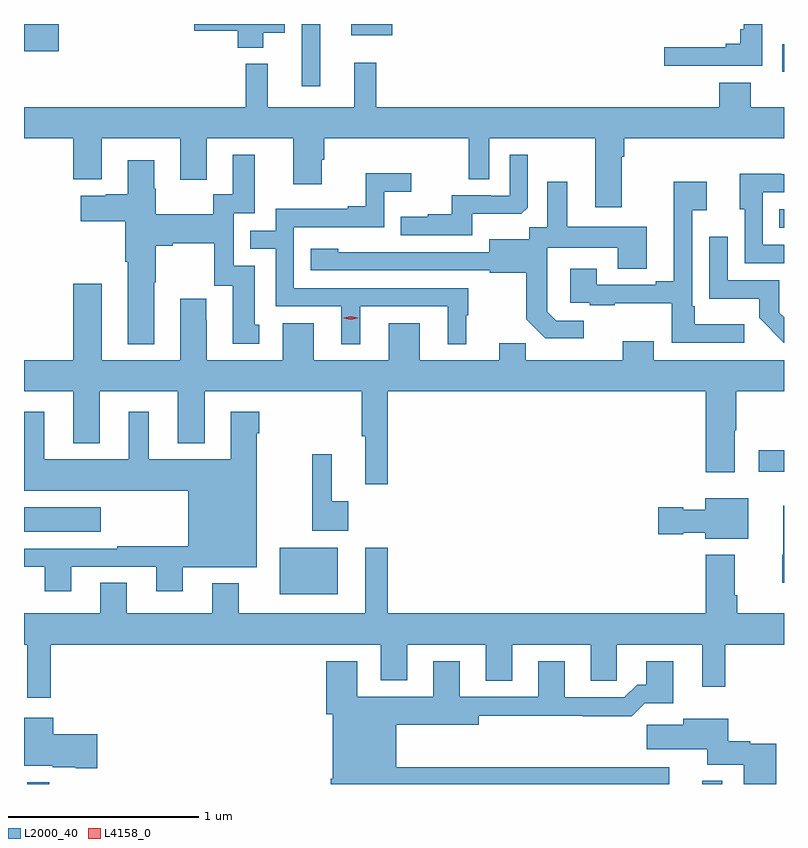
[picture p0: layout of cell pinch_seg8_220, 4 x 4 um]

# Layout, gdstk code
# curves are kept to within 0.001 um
import gdstk
lib = gdstk.Library(unit=1e-6, precision=1e-09)
def R(c, l, rs):  # rectangles x0, y0, x1, y1
    for r in rs: c.add(gdstk.rectangle(r[:2], r[2:], *l))
def P(c, l, *ps):  # polygons
    for p in ps: c.add(gdstk.Polygon(p, *l))
L2000_40 = (2000, 40)
L4158_0 = (4158, 0)

pinch_seg8_220 = lib.new_cell('pinch_seg8_220')
R(pinch_seg8_220, L2000_40, [(669.509,1106.442,669.623,1106.452), (673.061,1106.442,673.165,1106.458), (670.838,1107.44,671.143,1107.685), (669.491,1107.77,669.895,1107.898), (673.359,1108.085,673.491,1108.198), (673.465,1109.37,673.491,1109.466), (670.953,1110.114,671.05,1110.442), (673.481,1110.192,673.491,1110.336), (669.491,1110.298,669.673,1110.44), (671.213,1110.383,671.428,1110.442)])
P(pinch_seg8_220, L2000_40, [(673.377,1110.442),(673.28,1110.442),(673.28,1110.415),(673.261,1110.415),(673.261,1110.338),(673.184,1110.338),(673.184,1110.319),(672.861,1110.319),(672.861,1110.222),(673.377,1110.222)],
  [(670.75,1110.395),(670.864,1110.395),(670.864,1110.442),(670.386,1110.442),(670.386,1110.406),(670.616,1110.406),(670.616,1110.317),(670.75,1110.317)],
  [(672.637,1109.744),(672.65,1109.744),(672.65,1109.84),(673.491,1109.84),(673.491,1110.004),(673.315,1110.004),(673.315,1110.133),(673.151,1110.133),(673.151,1110.004),(671.345,1110.004),(671.345,1110.238),(671.228,1110.238),(671.228,1110.004),(670.775,1110.004),(670.775,1110.232),(670.657,1110.232),(670.657,1110.004),(669.491,1110.004),(669.491,1109.84),(669.749,1109.84),(669.749,1109.624),(669.901,1109.624),(669.901,1109.84),(670.313,1109.84),(670.313,1109.622),(670.453,1109.622),(670.453,1109.84),(670.907,1109.84),(670.907,1109.598),(671.059,1109.598),(671.059,1109.727),(671.072,1109.727),(671.072,1109.84),(671.832,1109.84),(671.832,1109.626),(671.94,1109.626),(671.94,1109.84),(672.497,1109.84),(672.497,1109.478),(672.637,1109.478)],
  [(670.177,1109.083),(670.185,1109.083),(670.185,1109.276),(670.273,1109.276),(670.273,1109.288),(670.493,1109.288),(670.493,1109.064),(670.589,1109.064),(670.589,1108.758),(670.729,1108.758),(670.729,1108.86),(670.705,1108.86),(670.705,1109.169),(670.596,1109.169),(670.596,1109.445),(670.705,1109.445),(670.705,1109.755),(670.589,1109.755),(670.589,1109.546),(670.488,1109.546),(670.488,1109.44),(670.185,1109.44),(670.185,1109.574),(670.177,1109.574),(670.177,1109.725),(670.037,1109.725),(670.037,1109.546),(669.921,1109.546),(669.921,1109.539),(669.789,1109.539),(669.789,1109.405),(670.025,1109.405),(670.025,1109.192),(670.037,1109.192),(670.037,1108.757),(670.177,1108.757)],
  [(671.851,1109.444),(672.109,1109.444),(672.141,1109.475),(672.141,1109.755),(672.048,1109.755),(672.048,1109.538),(671.948,1109.538),(671.948,1109.541),(671.741,1109.541),(671.741,1109.44),(671.617,1109.44),(671.617,1109.428),(671.473,1109.428),(671.473,1109.331),(671.851,1109.331)],
  [(671.26,1108.956),(671.72,1108.956),(671.72,1108.757),(671.818,1108.757),(671.818,1108.908),(671.83,1108.908),(671.83,1109.052),(670.911,1109.052),(670.911,1109.373),(671.388,1109.373),(671.388,1109.558),(671.53,1109.558),(671.53,1109.657),(671.29,1109.657),(671.29,1109.482),(671.195,1109.482),(671.195,1109.469),(670.815,1109.469),(670.815,1109.355),(670.681,1109.355),(670.681,1109.259),(670.815,1109.259),(670.815,1108.956),(671.162,1108.956),(671.162,1108.757),(671.26,1108.757)],
  [(673.491,1109.28),(673.38,1109.28),(673.38,1109.556),(673.491,1109.556),(673.491,1109.652),(673.477,1109.652),(673.477,1109.654),(673.259,1109.654),(673.259,1109.466),(673.284,1109.466),(673.284,1109.184),(673.491,1109.184)],
  [(673.282,1108.861),(673.021,1108.861),(673.021,1108.957),(673.008,1108.957),(673.008,1109.462),(673.084,1109.462),(673.084,1109.611),(672.911,1109.611),(672.911,1109.089),(672.815,1109.089),(672.815,1109.07),(672.505,1109.07),(672.505,1109.155),(672.365,1109.155),(672.365,1108.974),(672.469,1108.974),(672.469,1108.962),(672.601,1108.962),(672.601,1108.973),(672.9,1108.973),(672.9,1108.764),(673.282,1108.764)],
  [(672.436,1108.881),(672.291,1108.881),(672.244,1108.928),(672.244,1109.023),(672.246,1109.023),(672.246,1109.264),(672.617,1109.264),(672.617,1109.155),(672.769,1109.155),(672.769,1109.374),(672.349,1109.374),(672.349,1109.611),(672.245,1109.611),(672.245,1109.372),(672.15,1109.372),(672.15,1109.308),(671.939,1109.308),(671.939,1109.241),(671.145,1109.242),(671.145,1109.26),(671.001,1109.26),(671.001,1109.145),(671.943,1109.145),(671.943,1109.133),(672.135,1109.133),(672.135,1108.887),(672.235,1108.787),(672.436,1108.787)],
  [(673.491,1108.899),(673.467,1108.923),(673.467,1109.094),(673.194,1109.094),(673.194,1109.323),(673.098,1109.323),(673.098,1108.997),(673.36,1108.997),(673.36,1108.895),(673.49,1108.764),(673.491,1108.764)],
  [(672.805,1108.771),(672.641,1108.771),(672.641,1108.672),(672.131,1108.672),(672.131,1108.763),(671.993,1108.763),(671.993,1108.672),(671.575,1108.672),(671.575,1108.867),(671.411,1108.867),(671.411,1108.672),(671.017,1108.672),(671.017,1108.867),(670.853,1108.867),(670.853,1108.672),(670.453,1108.672),(670.453,1108.883),(670.45,1108.883),(670.45,1108.996),(670.313,1108.996),(670.313,1108.672),(669.901,1108.672),(669.901,1109.074),(669.749,1109.074),(669.749,1108.672),(669.491,1108.672),(669.491,1108.508),(669.749,1108.508),(669.749,1108.235),(669.889,1108.235),(669.889,1108.508),(670.301,1108.508),(670.301,1108.235),(670.441,1108.235),(670.441,1108.508),(671.269,1108.508),(671.269,1108.272),(671.288,1108.272),(671.288,1108.02),(671.405,1108.02),(671.405,1108.508),(673.079,1108.508),(673.079,1108.083),(673.231,1108.083),(673.231,1108.304),(673.239,1108.304),(673.239,1108.508),(673.491,1108.508),(673.491,1108.672),(672.805,1108.672)],
  [(669.739,1107.585),(670.187,1107.585),(670.187,1107.456),(670.327,1107.456),(670.327,1107.584),(670.717,1107.584),(670.717,1108.289),(670.73,1108.289),(670.73,1108.402),(670.58,1108.402),(670.58,1108.15),(670.147,1108.15),(670.147,1108.402),(670.043,1108.402),(670.043,1108.15),(669.598,1108.15),(669.598,1108.402),(669.491,1108.402),(669.491,1107.986),(670.355,1107.986),(670.355,1107.694),(669.982,1107.694),(669.982,1107.681),(669.491,1107.681),(669.491,1107.585),(669.599,1107.585),(669.599,1107.456),(669.739,1107.456)],
  [(671.197,1107.929),(671.111,1107.929),(671.111,1108.177),(671.008,1108.177),(671.008,1107.776),(671.197,1107.776)],
  [(673.303,1107.946),(673.076,1107.946),(673.076,1107.886),(672.96,1107.886),(672.96,1107.899),(672.828,1107.899),(672.828,1107.757),(672.96,1107.757),(672.96,1107.764),(673.076,1107.764),(673.076,1107.734),(673.303,1107.734)],
  [(673.491,1107.907),(673.487,1107.907),(673.487,1107.648),(673.481,1107.648),(673.481,1107.501),(673.491,1107.501)],
  [(669.631,1107.176),(671.369,1107.176),(671.369,1106.987),(671.509,1106.987),(671.509,1107.176),(671.921,1107.176),(671.921,1106.986),(672.061,1106.986),(672.061,1107.176),(672.473,1107.176),(672.473,1106.986),(672.612,1106.986),(672.612,1107.176),(673.061,1107.176),(673.061,1106.955),(673.183,1106.955),(673.183,1107.176),(673.491,1107.176),(673.491,1107.34),(673.244,1107.34),(673.244,1107.436),(673.231,1107.436),(673.231,1107.649),(673.079,1107.649),(673.079,1107.34),(671.405,1107.34),(671.405,1107.685),(671.288,1107.685),(671.288,1107.34),(670.621,1107.34),(670.621,1107.499),(670.481,1107.499),(670.481,1107.34),(670.033,1107.34),(670.033,1107.5),(669.893,1107.5),(669.893,1107.34),(669.491,1107.34),(669.491,1107.176),(669.509,1107.176),(669.509,1106.895),(669.631,1106.895)],
  [(672.886,1106.53),(671.449,1106.53),(671.449,1106.753),(671.884,1106.753),(671.884,1106.8),(672.433,1106.8),(672.433,1106.798),(672.689,1106.798),(672.758,1106.867),(672.907,1106.867),(672.907,1107.088),(672.767,1107.088),(672.767,1106.965),(672.718,1106.965),(672.651,1106.898),(672.337,1106.898),(672.337,1107.088),(672.197,1107.088),(672.197,1106.901),(671.785,1106.901),(671.785,1107.088),(671.645,1107.088),(671.645,1106.902),(671.245,1106.902),(671.245,1107.088),(671.081,1107.088),(671.081,1106.808),(671.117,1106.808),(671.117,1106.47),(671.105,1106.47),(671.105,1106.442),(672.886,1106.442)],
  [(669.877,1106.703),(669.646,1106.703),(669.646,1106.791),(669.491,1106.791),(669.491,1106.537),(669.642,1106.537),(669.642,1106.531),(669.764,1106.531),(669.764,1106.525),(669.877,1106.525)],
  [(673.451,1106.653),(673.314,1106.653),(673.314,1106.666),(673.198,1106.666),(673.198,1106.785),(672.962,1106.785),(672.962,1106.753),(672.768,1106.753),(672.768,1106.624),(673.088,1106.624),(673.088,1106.543),(673.28,1106.543),(673.28,1106.442),(673.451,1106.442)])
P(pinch_seg8_220, L4158_0, [(671.211,1108.885),(671.175,1108.894),(671.175,1108.895),(671.175,1108.895),(671.211,1108.905),(671.247,1108.895),(671.247,1108.895),(671.247,1108.894)])

lib.write_gds('pinch_seg8_220.gds')
